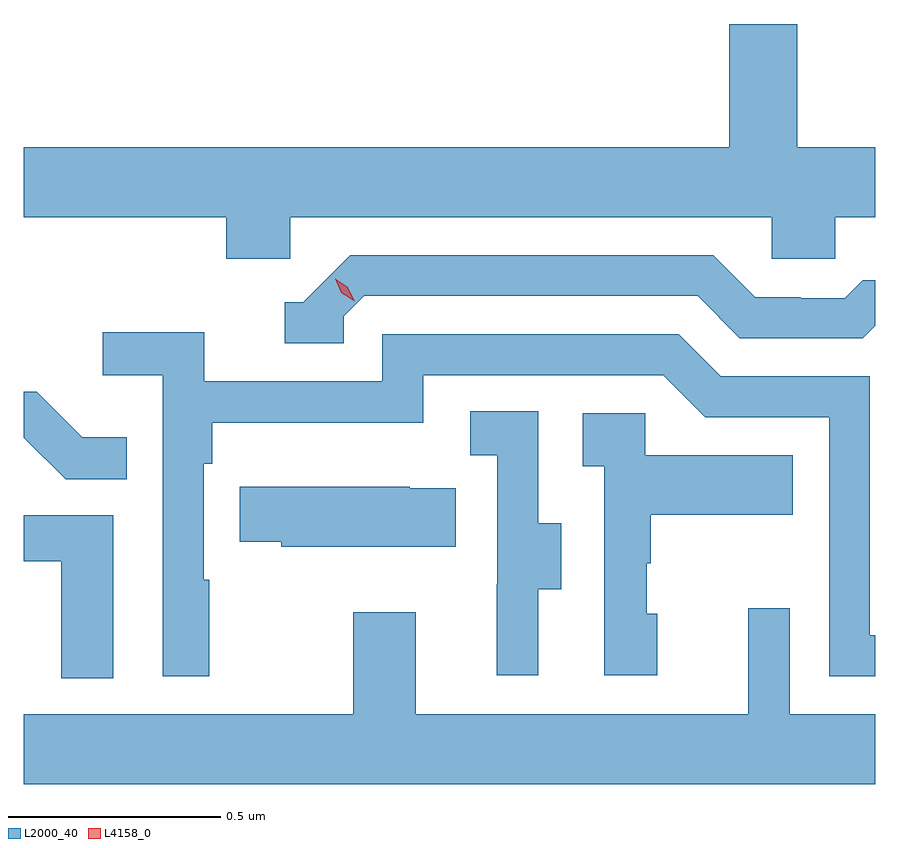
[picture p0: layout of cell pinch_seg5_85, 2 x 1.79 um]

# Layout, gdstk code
import gdstk
lib = gdstk.Library(unit=1e-6, precision=1e-09)
def P(c, l, *ps):  # polygons
    for p in ps: c.add(gdstk.Polygon(p, *l))
L2000_40 = (2000, 40)
L4158_0 = (4158, 0)

pinch_seg5_85 = lib.new_cell('pinch_seg5_85')
P(pinch_seg5_85, L2000_40, [(1025.262,895.388),(1026.393,895.388),(1026.393,895.29),(1026.543,895.29),(1026.543,895.388),(1026.636,895.388),(1026.636,895.552),(1026.453,895.552),(1026.453,895.842),(1026.293,895.842),(1026.293,895.552),(1024.636,895.552),(1024.636,895.388),(1025.111,895.388),(1025.111,895.29),(1025.262,895.29)],
  [(1025.388,895.155),(1025.436,895.203),(1026.219,895.203),(1026.318,895.104),(1026.607,895.104),(1026.636,895.133),(1026.636,895.24),(1026.607,895.24),(1026.565,895.197),(1026.462,895.197),(1026.462,895.2),(1026.355,895.2),(1026.256,895.299),(1025.403,895.299),(1025.292,895.188),(1025.249,895.188),(1025.249,895.092),(1025.388,895.092)],
  [(1025.071,894.536),(1025.058,894.536),(1025.058,894.809),(1025.078,894.809),(1025.078,894.905),(1025.574,894.905),(1025.574,895.017),(1026.138,895.017),(1026.237,894.918),(1026.528,894.918),(1026.528,894.309),(1026.636,894.309),(1026.636,894.405),(1026.624,894.405),(1026.624,895.014),(1026.274,895.014),(1026.175,895.113),(1025.478,895.113),(1025.478,895.002),(1025.06,895.002),(1025.06,895.118),(1024.821,895.118),(1024.821,895.016),(1024.962,895.016),(1024.962,894.309),(1025.071,894.309)],
  [(1024.877,894.871),(1024.773,894.871),(1024.666,894.978),(1024.636,894.978),(1024.636,894.87),(1024.734,894.772),(1024.877,894.772)],
  [(1025.845,894.514),(1025.899,894.514),(1025.899,894.669),(1025.844,894.669),(1025.844,894.932),(1025.685,894.932),(1025.685,894.829),(1025.748,894.829),(1025.748,894.525),(1025.747,894.525),(1025.747,894.312),(1025.845,894.312)],
  [(1026.124,894.456),(1026.099,894.456),(1026.099,894.575),(1026.109,894.575),(1026.109,894.689),(1026.443,894.689),(1026.443,894.829),(1026.096,894.829),(1026.096,894.927),(1025.949,894.927),(1025.949,894.803),(1026,894.803),(1026,894.312),(1026.124,894.312)],
  [(1025.651,894.751),(1025.543,894.751),(1025.543,894.754),(1025.143,894.754),(1025.143,894.625),(1025.241,894.625),(1025.241,894.614),(1025.651,894.614)],
  [(1024.846,894.687),(1024.636,894.687),(1024.636,894.579),(1024.724,894.579),(1024.724,894.305),(1024.846,894.305)],
  [(1026.636,894.22),(1026.435,894.22),(1026.435,894.469),(1026.338,894.469),(1026.338,894.22),(1025.557,894.22),(1025.557,894.46),(1025.41,894.46),(1025.41,894.22),(1024.636,894.22),(1024.636,894.056),(1026.636,894.056)])
P(pinch_seg5_85, L4158_0, [(1025.413,895.19),(1025.382,895.21),(1025.367,895.243),(1025.367,895.243),(1025.367,895.243),(1025.397,895.223),(1025.413,895.19),(1025.413,895.19)])

lib.write_gds('pinch_seg5_85.gds')
